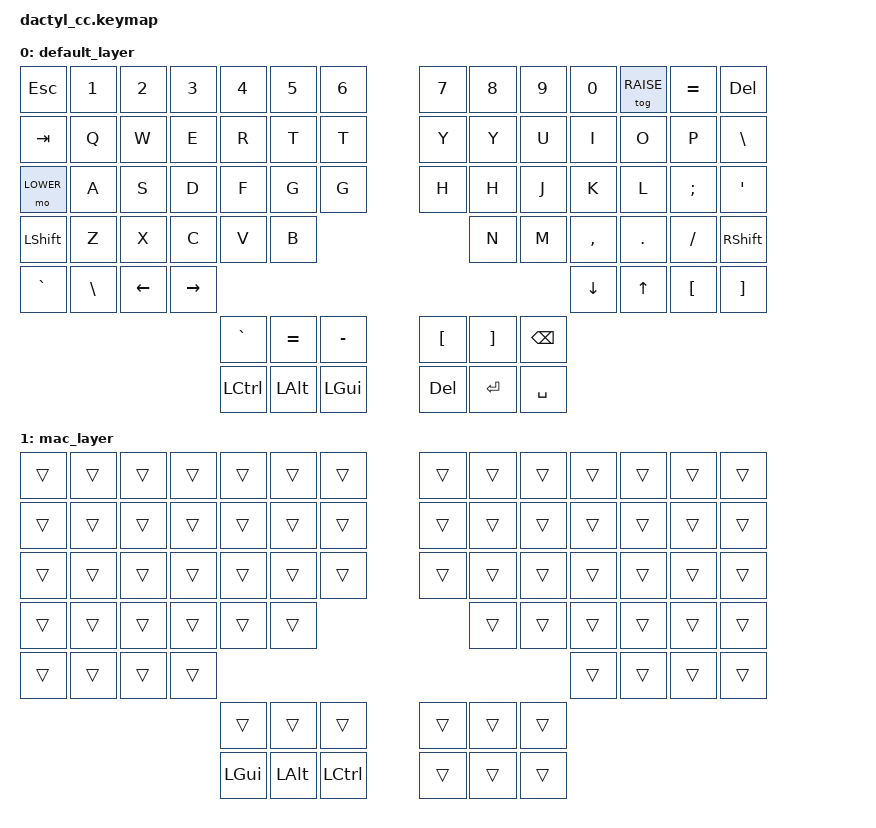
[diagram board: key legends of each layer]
#include <behaviors.dtsi>
#include <dt-bindings/zmk/keys.h>
#include <dt-bindings/zmk/bt.h>
#include <dt-bindings/zmk/outputs.h>

#define DEFAULT 0
#define MAC     1
//#define LOWER   2
//#define RAISE   3
//#define ADJUST  4

#define HYPER(key) LS(LC(LA(LG(key))))
#define MEH(key)   LS(LC(LA(key)))

&sl {
    release-after-ms = <5000>;
};


&kscan0 {
    debounce-press-ms = <30>;
    debounce-release-ms = <30>;
};

/ {
    keymap {
        compatible = "zmk,keymap";

        default_layer {
            bindings = <
    &kp ESC     &kp N1      &kp N2     &kp N3     &kp N4      &kp N5    &kp N6                 &kp N7    &kp N8    &kp N9    &kp N0      &tog RAISE   &kp EQUAL  &kp DEL
    &kp TAB     &kp Q       &kp W      &kp E      &kp R       &kp T     &kp T                  &kp Y     &kp Y     &kp U     &kp I       &kp O        &kp P      &kp BSLH
    &mo LOWER   &kp A       &kp S      &kp D      &kp F       &kp G     &kp G                  &kp H     &kp H     &kp J     &kp K       &kp L        &kp SEMI   &kp SQT
    &kp LSHFT   &kp Z       &kp X      &kp C      &kp V       &kp B                                      &kp N     &kp M     &kp COMMA   &kp DOT      &kp FSLH   &kp RSHFT
    &kp GRAVE   &kp BSLH    &kp LEFT   &kp RIGHT                                                                             &kp DOWN    &kp UP       &kp LBKT   &kp RBKT
                                                  &kp GRAVE   &kp EQUAL &kp MINUS              &kp LBKT  &kp RBKT  &kp BSPC
                                                  &kp LCTRL   &kp LALT  &kp LGUI               &kp DEL   &kp RET   &kp SPACE
            >;
        };

//          map = <
//  RC(0,0)     RC(0,1)     RC(0,2)    RC(0,3)    RC(0,4)     RC(0,5)   RC(0,6)                RC(0,13)  RC(0,12)  RC(0,11)  RC(0,10)    RC(0,9)   RC(0,8)   RC(0,7)
//  RC(1,0)     RC(1,1)     RC(1,2)    RC(1,3)    RC(1,4)     RC(1,5)   RC(1,6)                RC(1,13)  RC(1,12)  RC(1,11)  RC(1,10)    RC(1,9)   RC(1,8)   RC(1,7)
//  RC(2,0)     RC(2,1)     RC(2,2)    RC(2,3)    RC(2,4)     RC(2,5)   RC(2,6)                RC(2,13)  RC(2,12)  RC(2,11)  RC(2,10)    RC(2,9)   RC(2,8)   RC(2,7)
//  RC(3,0)     RC(3,1)     RC(3,2)    RC(3,3)    RC(3,4)     RC(3,5)                                    RC(3,12)  RC(3,11)  RC(3,10)    RC(3,9)   RC(3,8)   RC(3,7)
//  RC(4,0)     RC(4,1)     RC(4,2)    RC(4,3)                                                                               RC(4,10)    RC(4,9)   RC(4,8)   RC(3,7)
//
//                                                RC(4,4)     RC(5,5)   RC(5,3)                RC(5,10)  RC(5,12)  RC(4,11)
//                                                RC(4,4)     RC(5,4)   RC(5,2)                RC(5,9)   RC(5,11)  RC(4,11)
//          >;
//      };


        mac_layer {
            bindings = <
    &trans     &trans      &trans     &trans     &trans       &trans     &trans                 &trans   &trans    &trans    &trans    &trans   &trans  &trans
    &trans     &trans      &trans     &trans     &trans       &trans     &trans                 &trans   &trans    &trans    &trans    &trans   &trans  &trans
    &trans     &trans      &trans     &trans     &trans       &trans     &trans                 &trans   &trans    &trans    &trans    &trans   &trans  &trans
    &trans     &trans      &trans     &trans     &trans       &trans                                     &trans    &trans    &trans    &trans   &trans  &trans
    &trans     &trans      &trans     &trans                                                                                 &trans    &trans   &trans  &trans
                                                 &trans       &trans     &trans                &trans    &trans    &trans
                                                 &kp LGUI     &kp LALT   &kp LCTRL             &trans    &trans    &trans
            >;
        };

//        lower_layer {
//            bindings = <
//    &kp F12    &kp F1    &kp F2   &kp F3     &kp F4    &kp F5                            &kp F6        &kp F7       &kp F8           &kp F9            &kp F10     &kp F11
//    &sl ADJUST &none     &none    &none      &none     &none                             &none         &kp LC(1)    &kp LC(PG_UP)    &kp LC(PG_DN)     &kp LC(9)   &none
//    &trans     &kp CAPS  &none    &none      &none     &none                             &kp LEFT      &kp DOWN     &kp UP           &kp RIGHT         &none       &none
//    &trans     &none     &none    &none      &none     &none                             &kp MEH(N)    &kp MEH(M)   &kp LG(LC(LEFT)) &kp LG(LC(RIGHT)) &kp LG(TAB) &trans
//               &none     &kp C_PP &kp C_PREV &kp C_NEXT                                                &kp C_VOL_DN &kp C_VOL_UP     &kp C_MUTE        &none
//                                                   &kp C_BRI_UP &kp C_BRI_DN   &kp PSCRN &kp INS
//                                                                &kp HOME       &kp PG_UP
//                                            &trans &trans       &kp END        &kp PG_DN &trans    &trans
//            >;       };
//
//        raise_layer {
//            bindings = <
//    &trans    &trans    &trans   &trans    &trans    &trans                          &trans    &trans    &trans    &trans    &trans    &trans
//    &kp TAB   &kp T     &kp Q    &kp W     &kp E     &kp R                           &trans    &trans    &trans    &trans    &trans    &trans
//    &kp G     &kp LSHFT &kp A    &kp S     &kp D     &kp F                           &trans    &trans    &trans    &trans    &trans    &trans
//    &kp M     &trans    &trans   &trans    &trans    &trans                          &trans    &trans    &trans    &trans    &trans    &trans
//              &kp COMMA &kp DOT  &trans    &trans                                              &trans    &trans    &trans    &trans
//                                                     &trans    &trans      &trans    &trans
//                                                               &kp BSLH    &trans
//                                           &kp SPACE &kp LCTRL &kp LALT    &trans    &trans    &trans
//            >;
//        };
//
//        adjust_layer {
//            bindings = <
//    &none     &bt BT_SEL 0 &bt BT_SEL 1 &bt BT_SEL 2 &bt BT_SEL 3 &bt BT_SEL 4                         &none       &none      &none     &none     &none    &none
//    &trans    &out OUT_USB &out OUT_BLE &none        &sys_reset   &tog MAC                             &none       &sys_reset &none     &none     &none    &none
//    &trans    &none        &none        &none        &none        &none                                &none       &none      &none     &none     &none    &none
//    &none     &none        &bt BT_CLR   &none        &none        &bootloader                          &bootloader &none      &none     &none     &none    &none
//              &none        &none        &none        &none                                                         &none      &none     &none     &none
//                                                                  &none       &none       &none     &none
//                                                                              &none       &none
//                                                         &none    &none       &none       &none     &none     &none
//            >;
//        };
    };
};
eew12345uytweweertyuulkjjg--jgjfg=]n[njgjwgh-hgjwhj-wjwghjwghjghjghjwgj21wjghj
